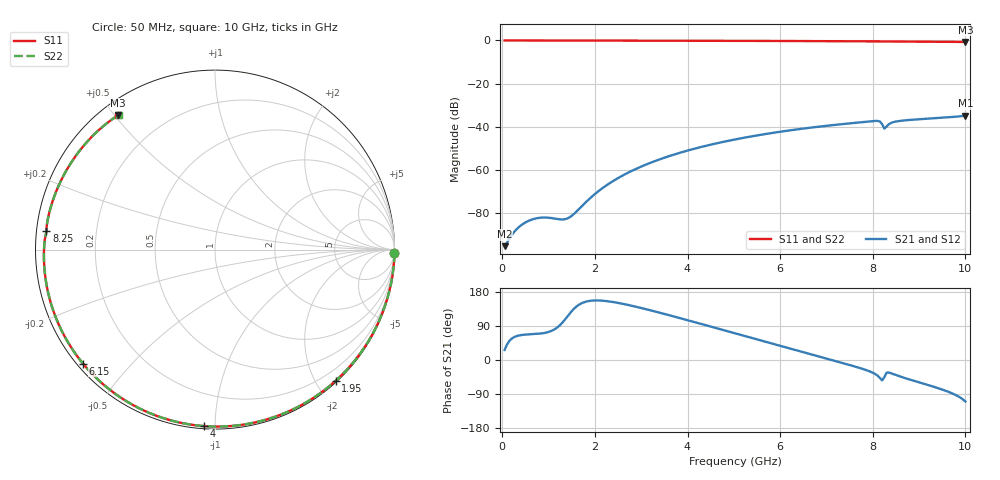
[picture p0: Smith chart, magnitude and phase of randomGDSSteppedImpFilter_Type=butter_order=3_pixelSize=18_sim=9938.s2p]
! freq	dB(S11)	phase(S11)	dB(S12)	phase(S12)
!  dB(S21)	phase(S21)	dB(S22)	phase(S22)
!S-par simulation data
#  GHz  S  DB  R 50
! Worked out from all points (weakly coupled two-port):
!   200 points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, 50 MHz to 10 GHz, reference 50 ohm
!   highest |S21| = -34.92 dB at 10 GHz (marker M1); lowest = -95.4 dB at 50 MHz (marker M2)
!   lowest |S11| = -0.7 dB at 10 GHz (marker M3), VSWR 24.89, Z = 2.53 + j25.5 ohm
!   |S11| at or under -10 dB: nowhere
!   |S22| runs from -0.7 to 0.0 dB; largest |S21 - S12| = 0
!   S11 on the Smith chart (normalised r, x): 50 MHz: 0, -92; 1.95 GHz: 0.02, -2.28; 4 GHz: 0.01, -0.94; 6.15 GHz: 0.02, -0.37; 8.25 GHz: 0.03, +0.05; 10 GHz: 0.05, +0.51
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0.05  -0.00 -1.2  -95.43 26.7  -95.43 26.7  -0.00 -1.2
0.75  -0.02 -18.5  -82.45 68.9  -82.45 68.9  -0.02 -18.5
1.55  -0.05 -37.8  -80.43 135.5  -80.43 135.5  -0.05 -37.8
1.75  -0.05 -42.6  -76.18 151.7  -76.18 151.7  -0.05 -42.6
1.95  -0.06 -47.3  -72.16 156.8  -72.16 156.8  -0.06 -47.3
2.25  -0.07 -54.3  -67.20 155.4  -67.20 155.4  -0.07 -54.3
2.6  -0.08 -62.4  -62.64 148.3  -62.64 148.3  -0.08 -62.4
3  -0.09 -71.5  -58.51 137.2  -58.51 137.2  -0.09 -71.5
3.4  -0.11 -80.4  -55.14 124.8  -55.14 124.8  -0.11 -80.4
4  -0.13 -93.5  -51.08 105.1  -51.08 105.1  -0.13 -93.5
5.05  -0.18 -115.9  -45.81 69.7  -45.81 69.7  -0.18 -116.0
6.15  -0.25 -139.2  -41.88 32.6  -41.88 32.6  -0.25 -139.2
6.7  -0.29 -151.0  -40.34 14.1  -40.34 14.1  -0.29 -151.0
7.45  -0.36 -167.5  -38.58 -11.4  -38.58 -11.4  -0.36 -167.6
8.1  -0.44 177.3  -37.32 -41.0  -37.32 -41.0  -0.44 177.1
8.15  -0.45 176.0  -37.54 -46.9  -37.54 -46.9  -0.46 175.9
8.2  -0.48 174.8  -38.76 -53.7  -38.76 -53.7  -0.48 174.7
8.25  -0.49 173.8  -40.89 -45.3  -40.89 -45.3  -0.49 173.7
8.35  -0.47 171.5  -38.80 -33.2  -38.80 -33.2  -0.47 171.3
8.55  -0.49 166.4  -37.43 -42.1  -37.43 -42.1  -0.49 166.2
9.2  -0.57 149.3  -36.27 -66.2  -36.27 -66.2  -0.57 149.0
10  -0.70 125.8  -34.92 -109.3  -34.92 -109.3  -0.70 125.4
